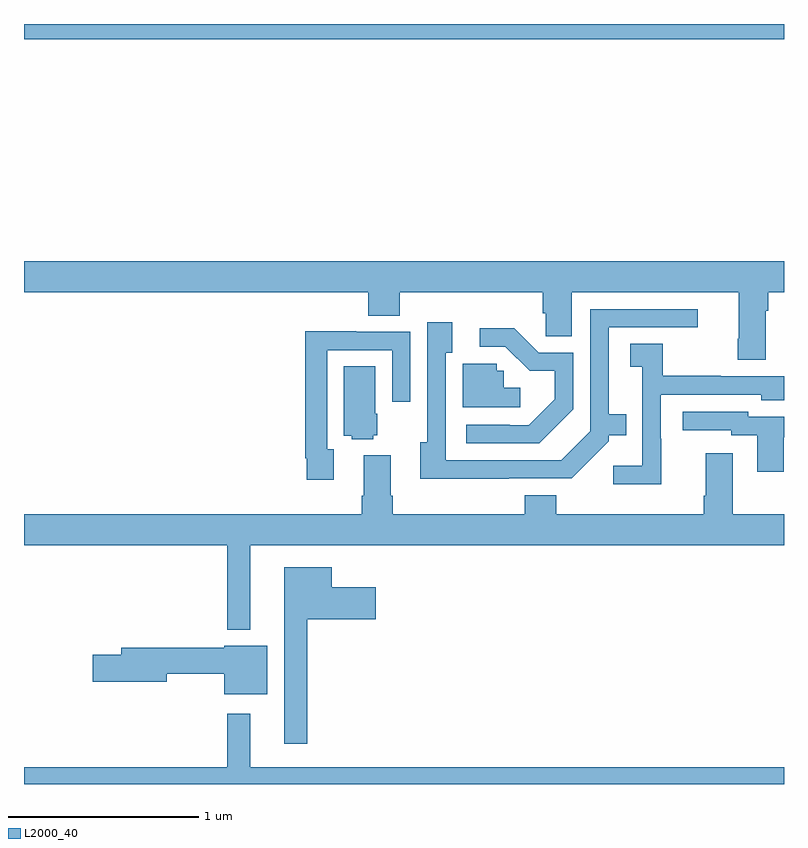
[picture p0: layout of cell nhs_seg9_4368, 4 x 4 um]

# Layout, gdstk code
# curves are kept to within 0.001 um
import gdstk
lib = gdstk.Library(unit=1e-6, precision=1e-09)
def R(c, l, rs):  # rectangles x0, y0, x1, y1
    for r in rs: c.add(gdstk.rectangle(r[:2], r[2:], *l))
def P(c, l, *ps):  # polygons
    for p in ps: c.add(gdstk.Polygon(p, *l))
L2000_40 = (2000, 40)

nhs_seg9_4368 = lib.new_cell('nhs_seg9_4368')
R(nhs_seg9_4368, L2000_40, [(361,1196.42,365,1196.5)])
P(nhs_seg9_4368, L2000_40, [(364.903,1194.992),(364.916,1194.992),(364.916,1195.088),(365,1195.088),(365,1195.252),(361,1195.252),(361,1195.088),(362.813,1195.088),(362.813,1194.964),(362.978,1194.964),(362.978,1195.088),(363.731,1195.088),(363.731,1194.978),(363.745,1194.978),(363.745,1194.856),(363.883,1194.856),(363.883,1195.088),(364.763,1195.088),(364.763,1194.844),(364.756,1194.844),(364.756,1194.732),(364.903,1194.732)],
  [(363.551,1194.108),(363.882,1194.108),(364.077,1194.303),(364.077,1194.335),(364.169,1194.335),(364.169,1194.445),(364.078,1194.445),(364.078,1194.903),(364.546,1194.903),(364.546,1194.999),(363.981,1194.999),(363.981,1194.357),(363.828,1194.204),(363.219,1194.204),(363.219,1194.77),(363.253,1194.77),(363.253,1194.931),(363.123,1194.931),(363.123,1194.298),(363.086,1194.298),(363.086,1194.107)],
  [(363.891,1194.473),(363.891,1194.771),(363.708,1194.771),(363.58,1194.899),(363.399,1194.899),(363.399,1194.801),(363.534,1194.801),(363.661,1194.674),(363.794,1194.674),(363.794,1194.524),(363.657,1194.387),(363.557,1194.387),(363.557,1194.39),(363.327,1194.39),(363.327,1194.294),(363.712,1194.294)],
  [(362.629,1194.263),(362.595,1194.263),(362.595,1194.783),(362.937,1194.783),(362.937,1194.513),(363.033,1194.513),(363.033,1194.879),(362.749,1194.879),(362.749,1194.883),(362.479,1194.883),(362.479,1194.214),(362.487,1194.214),(362.487,1194.102),(362.629,1194.102)],
  [(364.353,1194.317),(364.35,1194.317),(364.35,1194.549),(364.881,1194.549),(364.881,1194.521),(365,1194.521),(365,1194.645),(364.667,1194.645),(364.667,1194.648),(364.363,1194.648),(364.363,1194.818),(364.191,1194.818),(364.191,1194.697),(364.254,1194.697),(364.254,1194.175),(364.101,1194.175),(364.101,1194.077),(364.353,1194.077)],
  [(363.613,1194.586),(363.525,1194.586),(363.525,1194.675),(363.489,1194.675),(363.489,1194.711),(363.308,1194.711),(363.308,1194.483),(363.613,1194.483)],
  [(362.838,1194.336),(362.86,1194.336),(362.86,1194.45),(362.848,1194.45),(362.848,1194.698),(362.684,1194.698),(362.684,1194.332),(362.724,1194.332),(362.724,1194.314),(362.838,1194.314)],
  [(364.999,1194.324),(365,1194.324),(365,1194.432),(364.812,1194.432),(364.812,1194.459),(364.467,1194.459),(364.467,1194.363),(364.722,1194.363),(364.722,1194.336),(364.859,1194.336),(364.859,1194.144),(364.999,1194.144)],
  [(362.191,1193.756),(365,1193.756),(365,1193.92),(364.729,1193.92),(364.729,1194.241),(364.589,1194.241),(364.589,1194.016),(364.577,1194.016),(364.577,1193.92),(363.8,1193.92),(363.8,1194.019),(363.635,1194.019),(363.635,1193.92),(362.942,1193.92),(362.942,1194.016),(362.929,1194.016),(362.929,1194.229),(362.789,1194.229),(362.789,1194.016),(362.777,1194.016),(362.777,1193.92),(361,1193.92),(361,1193.756),(362.07,1193.756),(362.07,1193.312),(362.191,1193.312)],
  [(362.491,1193.366),(362.851,1193.366),(362.851,1193.536),(362.62,1193.536),(362.62,1193.641),(362.369,1193.641),(362.369,1192.713),(362.491,1192.713)],
  [(362.281,1193.227),(362.054,1193.227),(362.054,1193.216),(361.511,1193.216),(361.511,1193.18),(361.362,1193.18),(361.362,1193.038),(361.75,1193.038),(361.75,1193.08),(362.054,1193.08),(362.054,1192.973),(362.281,1192.973)],
  [(365,1192.588),(362.191,1192.588),(362.191,1192.87),(362.07,1192.87),(362.07,1192.588),(361,1192.588),(361,1192.5),(365,1192.5)])

lib.write_gds('nhs_seg9_4368.gds')
